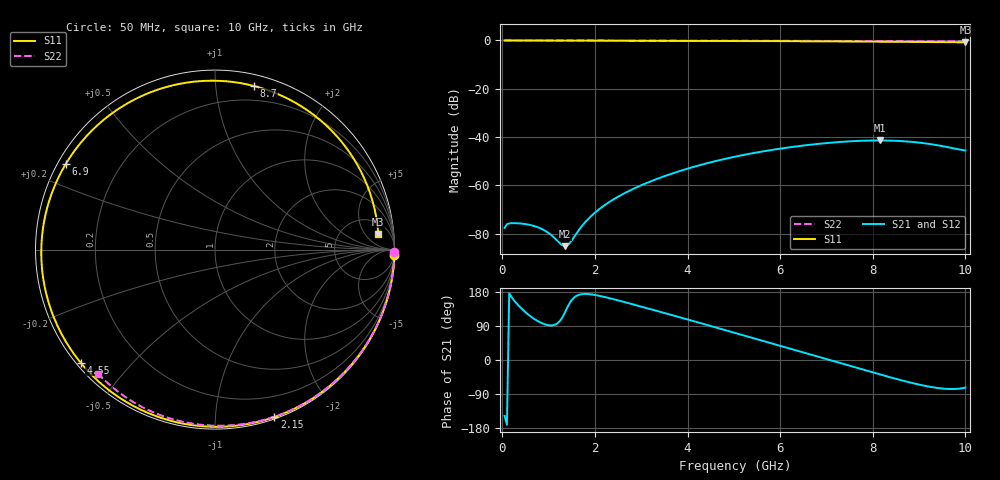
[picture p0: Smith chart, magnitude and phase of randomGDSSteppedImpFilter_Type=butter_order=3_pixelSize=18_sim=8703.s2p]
! freq	dB(S11)	phase(S11)	dB(S12)	phase(S12)
!  dB(S21)	phase(S21)	dB(S22)	phase(S22)
!S-par simulation data
#  GHz  S  DB  R 50
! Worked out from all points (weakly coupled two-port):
!   200 points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, 50 MHz to 10 GHz, reference 50 ohm
!   highest |S21| = -41.40 dB at 8.15 GHz (marker M1); lowest = -85.2 dB at 1.35 GHz (marker M2)
!   lowest |S11| = -0.8 dB at 10 GHz (marker M3), VSWR 22.24, Z = 526 + j554 ohm
!   |S11| at or under -10 dB: nowhere
!   |S22| runs from -0.5 to 0.0 dB; largest |S21 - S12| = 0
!   S11 on the Smith chart (normalised r, x): 50 MHz: 0, -67; 2.15 GHz: 0.02, -1.41; 4.55 GHz: 0.01, -0.36; 6.9 GHz: 0.02, +0.27; 8.7 GHz: 0.08, +1.26; 10 GHz: 11, +11
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0.05  -0.00 -1.7  -77.59 -147.5  -77.59 -147.5  -0.00 -0.8
0.15  -0.00 -5.1  -75.75 176.0  -75.75 176.0  -0.00 -2.3
0.4  -0.01 -13.6  -75.78 137.5  -75.78 137.5  -0.00 -6.1
1.05  -0.04 -35.4  -80.44 91.2  -80.44 91.2  -0.02 -16.0
1.35  -0.06 -45.2  -85.17 124.8  -85.17 124.8  -0.03 -20.5
1.6  -0.07 -53.2  -79.94 169.1  -79.94 169.1  -0.03 -24.2
1.75  -0.07 -58.0  -76.14 174.1  -76.14 174.1  -0.03 -26.4
2.15  -0.09 -70.5  -69.01 167.9  -69.01 167.9  -0.04 -32.3
2.7  -0.11 -87.2  -62.64 150.8  -62.64 150.8  -0.05 -40.3
3.4  -0.14 -107.6  -56.89 127.5  -56.89 127.5  -0.07 -50.3
4.55  -0.19 -139.9  -50.20 88.0  -50.20 88.0  -0.10 -66.2
5.05  -0.22 -153.9  -48.02 70.5  -48.02 70.5  -0.11 -72.9
5.9  -0.28 -178.4  -45.08 40.8  -45.08 40.8  -0.14 -83.9
6.7  -0.35 156.7  -43.07 13.0  -43.07 13.0  -0.18 -94.0
6.9  -0.37 150.0  -42.67 6.1  -42.67 6.1  -0.19 -96.4
7.5  -0.43 128.5  -41.76 -15.0  -41.76 -15.0  -0.23 -103.7
8.15  -0.50 102.1  -41.40 -37.8  -41.40 -37.8  -0.27 -111.5
8.35  -0.52 93.1  -41.45 -44.7  -41.45 -44.7  -0.29 -113.9
8.7  -0.56 76.6  -41.76 -56.2  -41.76 -56.2  -0.32 -118.0
9.3  -0.65 45.4  -43.07 -72.0  -43.07 -72.0  -0.38 -125.1
9.65  -0.71 25.7  -44.30 -76.5  -44.30 -76.5  -0.41 -129.2
10  -0.78 5.4  -45.56 -73.0  -45.56 -73.0  -0.45 -133.3
